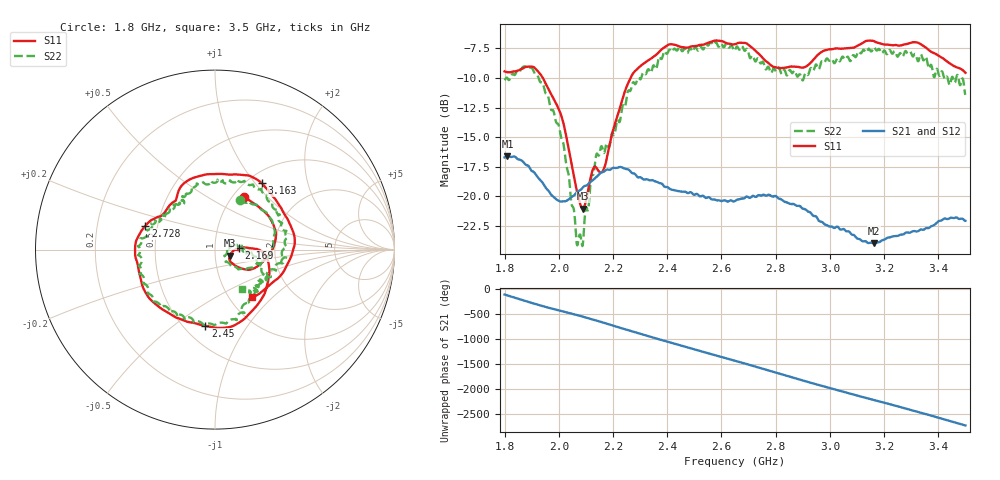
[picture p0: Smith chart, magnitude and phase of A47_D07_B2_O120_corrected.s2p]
! Created with skrf 1.9.0 (http://scikit-rf.org).
# Hz S RI R 50.0
!freq ReS11 ImS11 ReS21 ImS21 ReS12 ImS12 ReS22 ImS22
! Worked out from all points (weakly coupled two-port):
!   1601 points, 1.8 GHz to 3.5 GHz, reference 50 ohm
!   highest |S21| = -16.61 dB at 1.811 GHz (marker M1); lowest = -24.0 dB at 3.162 GHz (marker M2)
!   lowest |S11| = -21.0 dB at 2.089 GHz (marker M3), VSWR 1.19, Z = 58.8 - j3.9 ohm
!   |S11| at or under -10 dB: 1.941 GHz to 2.264 GHz (322.9 MHz wide, 15.4 % of centre)
!   |S22| runs from -24.2 to -7.0 dB; largest |S21 - S12| = 0.0027
!   S11 on the Smith chart (normalised r, x): 1.8 GHz: 1.12, +0.75; 2.169 GHz: 1.31, +0.02; 2.45 GHz: 0.63, -0.66; 2.728 GHz: 0.43, +0.14; 3.163 GHz: 1.16, +1.08; 3.5 GHz: 1.27, -0.75
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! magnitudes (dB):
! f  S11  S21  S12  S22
! 1.8 GHz  -9.4  -16.7  -16.7  -10.2
! 1.811 GHz  -9.5  -16.6  -16.6  -10.0
! 1.884 GHz  -9.0  -17.4  -17.4  -9.0
! 1.941 GHz  -10.0  -18.9  -18.9  -10.5
! 2.011 GHz  -13.4  -20.4  -20.4  -15.2
! 2.066 GHz  -19.4  -19.7  -19.7  -23.9
! 2.084 GHz  -20.9  -19.4  -19.3  -23.9
! 2.089 GHz  -21.0  -19.2  -19.3  -24.0
! 2.137 GHz  -17.5  -18.4  -18.4  -16.6
! 2.169 GHz  -17.5  -17.9  -17.9  -16.3
! 2.261 GHz  -10.1  -17.8  -17.8  -11.1
! 2.367 GHz  -7.9  -18.8  -18.8  -8.4
! 2.45 GHz  -7.4  -19.6  -19.6  -7.6
! 2.65 GHz  -7.1  -20.4  -20.4  -7.6
! 2.728 GHz  -7.7  -20.0  -20.0  -8.6
! 2.807 GHz  -9.1  -20.1  -20.1  -9.3
! 2.934 GHz  -8.6  -21.5  -21.5  -9.2
! 3.162 GHz  -6.9  -24.0  -23.9  -7.4
! 3.163 GHz  -6.9  -24.0  -23.9  -7.4
! 3.217 GHz  -7.2  -23.5  -23.5  -7.7
! 3.325 GHz  -7.0  -22.9  -22.9  -8.6
! 3.5 GHz  -9.6  -22.1  -22.1  -11.4
